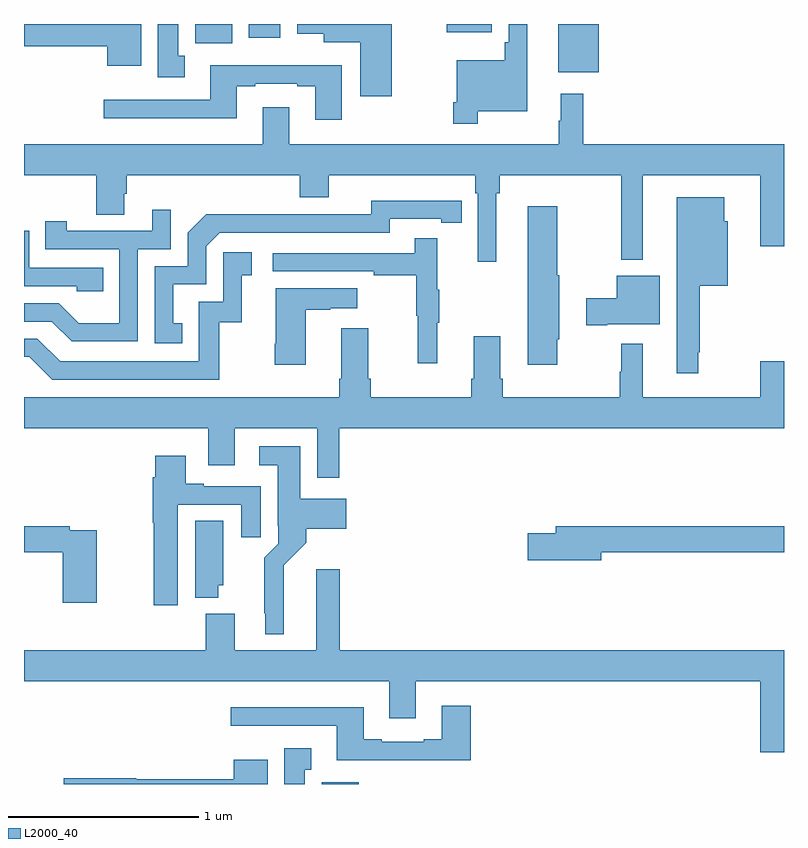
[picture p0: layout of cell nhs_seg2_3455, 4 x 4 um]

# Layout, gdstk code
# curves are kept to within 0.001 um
import gdstk
lib = gdstk.Library(unit=1e-6, precision=1e-09)
def R(c, l, rs):  # rectangles x0, y0, x1, y1
    for r in rs: c.add(gdstk.rectangle(r[:2], r[2:], *l))
def P(c, l, *ps):  # polygons
    for p in ps: c.add(gdstk.Polygon(p, *l))
L2000_40 = (2000, 40)

nhs_seg2_3455 = lib.new_cell('nhs_seg2_3455')
R(nhs_seg2_3455, L2000_40, [(294.566,609.8,294.763,609.808), (295.811,613.547,296.026,613.8), (293.9,613.7,294.097,613.8), (294.182,613.728,294.349,613.8), (295.226,613.757,295.462,613.8)])
P(nhs_seg2_3455, L2000_40, [(294.936,613.8),(294.437,613.8),(294.437,613.748),(294.578,613.748),(294.578,613.703),(294.77,613.703),(294.77,613.419),(294.936,613.419)],
  [(293.617,613.8),(293,613.8),(293,613.684),(293.438,613.684),(293.438,613.58),(293.617,613.58)],
  [(295.387,613.34),(295.648,613.34),(295.648,613.8),(295.551,613.8),(295.551,613.705),(295.531,613.705),(295.531,613.609),(295.278,613.609),(295.278,613.387),(295.258,613.387),(295.258,613.275),(295.387,613.275)],
  [(293.845,613.634),(293.812,613.634),(293.812,613.8),(293.705,613.8),(293.705,613.521),(293.845,613.521)],
  [(294.673,613.582),(293.981,613.582),(293.981,613.401),(293.421,613.401),(293.421,613.304),(294.121,613.304),(294.121,613.473),(294.217,613.473),(294.217,613.485),(294.437,613.485),(294.437,613.473),(294.533,613.473),(294.533,613.296),(294.673,613.296)],
  [(295.486,612.908),(295.505,612.908),(295.505,613.004),(296.143,613.004),(296.143,612.56),(296.257,612.56),(296.257,613.004),(296.876,613.004),(296.876,612.63),(297,612.63),(297,613.168),(295.943,613.168),(295.943,613.432),(295.826,613.432),(295.826,613.292),(295.815,613.292),(295.815,613.168),(294.397,613.168),(294.397,613.363),(294.257,613.363),(294.257,613.168),(293,613.168),(293,613.004),(293.38,613.004),(293.38,612.796),(293.527,612.796),(293.527,612.906),(293.54,612.906),(293.54,613.004),(294.452,613.004),(294.452,612.887),(294.604,612.887),(294.604,613.004),(295.376,613.004),(295.376,612.908),(295.389,612.908),(295.389,612.549),(295.486,612.549)],
  [(296.549,612.073),(296.557,612.073),(296.557,612.422),(296.704,612.422),(296.704,612.762),(296.686,612.762),(296.686,612.889),(296.435,612.889),(296.435,611.961),(296.549,611.961)],
  [(293.834,612.225),(293.785,612.225),(293.785,612.429),(293.958,612.429),(293.958,612.63),(294.03,612.702),(294.924,612.702),(294.924,612.774),(295.196,612.774),(295.196,612.754),(295.304,612.754),(295.304,612.87),(294.828,612.871),(294.828,612.798),(294.368,612.798),(294.368,612.8),(293.96,612.8),(293.862,612.702),(293.862,612.525),(293.688,612.525),(293.688,612.12),(293.834,612.12)],
  [(295.806,612.141),(295.816,612.141),(295.816,612.477),(295.806,612.477),(295.806,612.841),(295.652,612.841),(295.652,612.006),(295.806,612.006)],
  [(293.598,612.615),(293.772,612.615),(293.772,612.823),(293.675,612.823),(293.675,612.711),(293.224,612.711),(293.224,612.763),(293.113,612.763),(293.113,612.615),(293.502,612.615),(293.502,612.226),(293.288,612.226),(293.184,612.33),(293,612.33),(293,612.234),(293.147,612.234),(293.252,612.129),(293.598,612.129)],
  [(293.417,612.516),(293.028,612.516),(293.028,612.711),(293,612.711),(293,612.42),(293.277,612.42),(293.277,612.393),(293.417,612.393)],
  [(295.175,612.227),(295.186,612.227),(295.186,612.401),(295.175,612.401),(295.175,612.673),(295.057,612.673),(295.057,612.594),(294.309,612.594),(294.309,612.498),(294.841,612.498),(294.841,612.478),(295.065,612.478),(295.065,612.264),(295.072,612.264),(295.072,612.015),(295.175,612.015)],
  [(294.028,612.231),(294.146,612.231),(294.146,612.477),(294.199,612.477),(294.199,612.598),(294.048,612.598),(294.048,612.339),(293.919,612.339),(293.919,612.024),(293.19,612.024),(293.07,612.144),(293,612.144),(293,612.048),(293.028,612.048),(293.148,611.928),(294.028,611.928)],
  [(296.071,612.221),(296.347,612.221),(296.347,612.475),(296.12,612.475),(296.12,612.356),(295.959,612.356),(295.959,612.214),(296.071,612.214)],
  [(294.484,612.295),(294.611,612.295),(294.611,612.305),(294.754,612.305),(294.754,612.409),(294.326,612.409),(294.326,612.118),(294.319,612.118),(294.319,612.006),(294.484,612.006)],
  [(297,612.025),(296.876,612.025),(296.876,611.836),(296.257,611.836),(296.257,612.118),(296.143,612.118),(296.143,611.969),(296.136,611.969),(296.136,611.836),(295.52,611.836),(295.52,611.932),(295.507,611.932),(295.507,612.157),(295.367,612.157),(295.367,611.932),(295.355,611.932),(295.355,611.836),(294.824,611.836),(294.824,611.932),(294.811,611.932),(294.811,612.199),(294.671,612.199),(294.671,611.932),(294.659,611.932),(294.659,611.836),(293,611.836),(293,611.672),(293.969,611.672),(293.969,611.478),(294.109,611.478),(294.109,611.672),(294.543,611.672),(294.543,611.412),(294.659,611.412),(294.659,611.672),(297,611.672)],
  [(294.367,610.952),(294.485,611.07),(294.485,611.144),(294.697,611.144),(294.697,611.302),(294.454,611.302),(294.454,611.578),(294.237,611.578),(294.237,611.477),(294.335,611.477),(294.335,611.158),(294.339,611.158),(294.339,611.064),(294.265,610.99),(294.265,610.699),(294.269,610.699),(294.269,610.589),(294.367,610.589)],
  [(293.809,611.271),(294.143,611.271),(294.143,611.1),(294.247,611.1),(294.247,611.367),(293.947,611.367),(293.947,611.38),(293.851,611.38),(293.851,611.527),(293.69,611.527),(293.69,611.414),(293.678,611.414),(293.678,611.174),(293.683,611.174),(293.683,610.74),(293.809,610.74)],
  [(294.022,610.845),(294.049,610.845),(294.049,611.186),(293.9,611.186),(293.9,610.781),(294.022,610.781)],
  [(296.038,611.02),(297,611.02),(297,611.156),(295.799,611.156),(295.799,611.12),(295.65,611.12),(295.65,610.978),(296.038,610.978)],
  [(293.382,611.136),(293.24,611.136),(293.24,611.156),(293,611.156),(293,611.02),(293.204,611.02),(293.204,610.755),(293.382,610.755)],
  [(293.957,610.696),(293.957,610.504),(293,610.504),(293,610.34),(294.923,610.34),(294.923,610.146),(295.063,610.146),(295.063,610.34),(296.876,610.34),(296.876,609.966),(297,609.966),(297,610.504),(294.662,610.504),(294.662,610.93),(294.539,610.93),(294.539,610.504),(294.109,610.504),(294.109,610.696)],
  [(295.352,610.213),(295.199,610.213),(295.199,610.036),(295.103,610.036),(295.103,610.023),(294.883,610.023),(294.883,610.036),(294.787,610.036),(294.787,610.204),(294.087,610.204),(294.087,610.107),(294.647,610.107),(294.647,609.926),(295.352,609.926)],
  [(294.478,609.875),(294.511,609.875),(294.511,609.988),(294.371,609.988),(294.371,609.8),(294.478,609.8)],
  [(294.283,609.928),(294.104,609.928),(294.104,609.824),(293.592,609.824),(293.592,609.83),(293.208,609.83),(293.208,609.8),(294.283,609.8)])

lib.write_gds('nhs_seg2_3455.gds')
